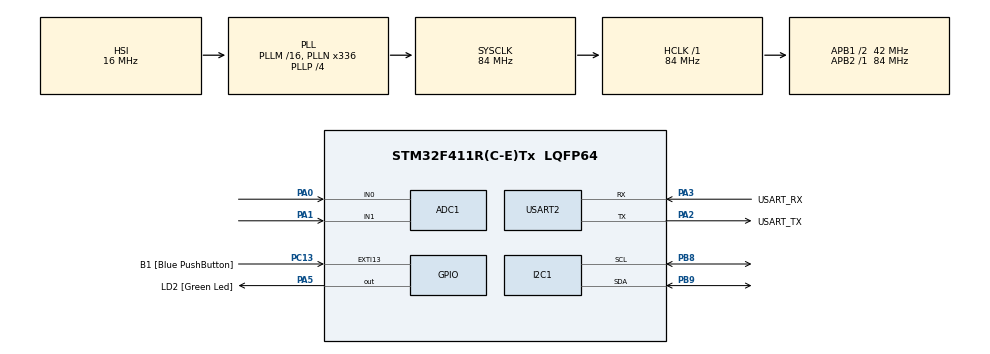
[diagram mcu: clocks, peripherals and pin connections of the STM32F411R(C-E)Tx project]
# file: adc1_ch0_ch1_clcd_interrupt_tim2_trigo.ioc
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ADC1.Channel-0\#ChannelRegularConversion=ADC_CHANNEL_0
ADC1.Channel-1\#ChannelRegularConversion=ADC_CHANNEL_1
ADC1.ClockPrescaler=ADC_CLOCK_SYNC_PCLK_DIV6
ADC1.ExternalTrigConv=ADC_EXTERNALTRIGCONV_T2_TRGO
ADC1.NbrOfConversion=2
ADC1.NbrOfConversionFlag=1
ADC1.Rank-0\#ChannelRegularConversion=1
ADC1.Rank-1\#ChannelRegularConversion=2
ADC1.SamplingTime-0\#ChannelRegularConversion=ADC_SAMPLETIME_28CYCLES
ADC1.SamplingTime-1\#ChannelRegularConversion=ADC_SAMPLETIME_28CYCLES
ADC1.ScanConvMode=ENABLE
ADC1.master=1
Mcu.Family=STM32F4
Mcu.Name=STM32F411R(C-E)Tx
Mcu.Package=LQFP64
NVIC.ADC_IRQn=true\:0\:0\:false\:false\:true\:true\:true\:true
NVIC.PriorityGroup=NVIC_PRIORITYGROUP_0
PA0-WKUP.Signal=ADCx_IN0
PA1.Signal=ADCx_IN1
PA13.GPIO_Label=TMS
PA13.Mode=Serial_Wire
PA13.Signal=SYS_JTMS-SWDIO
PA14.GPIO_Label=TCK
PA14.Mode=Serial_Wire
PA14.Signal=SYS_JTCK-SWCLK
PA2.GPIO_Label=USART_TX
PA2.Mode=Asynchronous
PA2.Signal=USART2_TX
PA3.GPIO_Label=USART_RX
PA3.Mode=Asynchronous
PA3.Signal=USART2_RX
PA5.GPIO_Label=LD2 [Green Led]
PA5.Signal=GPIO_Output
PB3.GPIO_Label=SWO
PB3.Signal=SYS_JTDO-SWO
PB8.Mode=I2C
PB8.Signal=I2C1_SCL
PB9.Mode=I2C
PB9.Signal=I2C1_SDA
PC13-ANTI_TAMP.GPIO_Label=B1 [Blue PushButton]
PC13-ANTI_TAMP.GPIO_ModeDefaultEXTI=GPIO_MODE_IT_FALLING
PC13-ANTI_TAMP.Signal=GPXTI13
PC14-OSC32_IN.Signal=RCC_OSC32_IN
PC15-OSC32_OUT.Signal=RCC_OSC32_OUT
PH0\ -\ OSC_IN.Signal=RCC_OSC_IN
PH1\ -\ OSC_OUT.Signal=RCC_OSC_OUT
ProjectManager.HeapSize=0x200
ProjectManager.StackSize=0x400
ProjectManager.TargetToolchain=STM32CubeIDE
RCC.48MHZClocksFreq_Value=84000000
RCC.AHBFreq_Value=84000000
RCC.APB1CLKDivider=RCC_HCLK_DIV2
RCC.APB1Freq_Value=42000000
RCC.APB1TimFreq_Value=84000000
RCC.APB2Freq_Value=84000000
RCC.APB2TimFreq_Value=84000000
RCC.CortexFreq_Value=84000000
RCC.FLatency-AdvancedSettings=FLASH_LATENCY_2
RCC.HCLKFreq_Value=84000000
RCC.HSE_VALUE=8000000
RCC.HSI_VALUE=16000000
RCC.LSE_VALUE=32768
RCC.PLLN=336
RCC.PLLP=RCC_PLLP_DIV4
RCC.SYSCLKFreq_VALUE=84000000
RCC.SYSCLKSource=RCC_SYSCLKSOURCE_PLLCLK
RCC.VCOOutputFreq_Value=336000000
SH.ADCx_IN0.0=ADC1_IN0,IN0
SH.ADCx_IN1.0=ADC1_IN1,IN1
TIM2.Channel-Output\ Compare2\ No\ Output=TIM_CHANNEL_2
TIM2.Period=5000000
TIM2.Prescaler=84-1
TIM2.TIM_MasterOutputTrigger=TIM_TRGO_UPDATE
USART2.VirtualMode=VM_ASYNC
VP_TIM2_VS_ClockSourceINT.Mode=Internal
VP_TIM2_VS_no_output2.Mode=Output Compare2 No Output
board=NUCLEO-F411RE

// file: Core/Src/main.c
/* USER CODE BEGIN Header */
/**
  ******************************************************************************
  * @file           : main.c
  * @brief          : Main program body
  ******************************************************************************
  * @attention
  *
  * Copyright (c) 2025 STMicroelectronics.
  * All rights reserved.
  *
  * This software is licensed under terms that can be found in the LICENSE file
  * in the root directory of this software component.
  * If no LICENSE file comes with this software, it is provided AS-IS.
  *
  ******************************************************************************
  */
/* USER CODE END Header */
#include "main.h"

/* USER CODE BEGIN Includes */
#include "clcd.h"
#include <stdio.h>
/* USER CODE END Includes */

/* USER CODE BEGIN PD */
#ifdef __GNUC__
/* With GCC, small printf (option LD Linker->Libraries->Small printf
   set to 'Yes') calls __io_putchar() */
#define PUTCHAR_PROTOTYPE int __io_putchar(int ch)
#else
#define PUTCHAR_PROTOTYPE int fputc(int ch, FILE *f)
#endif /* __GNUC__ */

/* USER CODE END PD */

ADC_HandleTypeDef hadc1;

I2C_HandleTypeDef hi2c1;

TIM_HandleTypeDef htim2;

UART_HandleTypeDef huart2;

/* USER CODE BEGIN PV */
__IO uint16_t ADC1ConvertValue[2]={0};
__IO int adcFlag = 0;
/* USER CODE END PV */

void SystemClock_Config(void);
static void MX_GPIO_Init(void);
static void MX_USART2_UART_Init(void);
static void MX_I2C1_Init(void);
static void MX_ADC1_Init(void);
static void MX_TIM2_Init(void);

int main(void)
{

  /* USER CODE BEGIN 1 */

	char lcd_buffer1[17];
	char lcd_buffer2[17];
  /* USER CODE END 1 */

  /* MCU Configuration--------------------------------------------------------*/

  /* Reset of all peripherals, Initializes the Flash interface and the Systick. */
  HAL_Init();

  /* Configure the system clock */
  SystemClock_Config();

  /* Initialize all configured peripherals */
  MX_GPIO_Init();
  MX_USART2_UART_Init();
  MX_I2C1_Init();
  MX_ADC1_Init();
  MX_TIM2_Init();
  /* USER CODE BEGIN 2 */
  LCD_init(&hi2c1);
  LCD_writeStringXY(0, 0, "Hello LCD!");
  printf("start main()\r\n");
  if(HAL_ADC_Start_IT(&hadc1) != HAL_OK)
	  Error_Handler();
  if(HAL_TIM_Base_Start(&htim2) != HAL_OK)
	  Error_Handler();
  /* USER CODE END 2 */

  /* Infinite loop */
  /* USER CODE BEGIN WHILE */
  while (1)
  {
#if 0
	  if(HAL_ADC_Start(&hadc1) != HAL_OK)
	  	  Error_Handler();
	  for(int i = 0; i < 2; i++)
	  {
		  HAL_ADC_PollForConversion(&hadc1, 100);
		  if((HAL_ADC_GetState(&hadc1) & HAL_ADC_STATE_REG_EOC) == HAL_ADC_STATE_REG_EOC)
		  {
//			  printf("ADC ch %d = %lu\r\n", i, HAL_ADC_GetValue(&hadc1));
			  ADC1ConvertValue[i] = HAL_ADC_GetValue(&hadc1);
		  }
	  }
	  HAL_ADC_Stop(&hadc1);
#endif
	  if(adcFlag)
	  {
		  adcFlag = 0;
		  snprintf(lcd_buffer1, 16, "VAR = %4d", ADC1ConvertValue[0]);
		  snprintf(lcd_buffer2, 16, "CDS = %4d", ADC1ConvertValue[1]);
		  LCD_writeStringXY(0, 0, lcd_buffer1);
		  LCD_writeStringXY(1, 0, lcd_buffer2);
		  printf("VAR = %4d  VAR_V= %4lf, CDS = %4d \r\n", ADC1ConvertValue[0], ADC1ConvertValue[0]*(3.3/4096), ADC1ConvertValue[1]);
//		  if(HAL_ADC_Start_IT(&hadc1) != HAL_OK)
//			  Error_Handler();
	  }
    /* USER CODE END WHILE */

  }
}

void SystemClock_Config(void)
{
  RCC_OscInitTypeDef RCC_OscInitStruct = {0};
  RCC_ClkInitTypeDef RCC_ClkInitStruct = {0};

  /** Configure the main internal regulator output voltage
  */
  __HAL_RCC_PWR_CLK_ENABLE();
  __HAL_PWR_VOLTAGESCALING_CONFIG(PWR_REGULATOR_VOLTAGE_SCALE1);

  /** Initializes the RCC Oscillators according to the specified parameters
  * in the RCC_OscInitTypeDef structure.
  */
  RCC_OscInitStruct.OscillatorType = RCC_OSCILLATORTYPE_HSI;
  RCC_OscInitStruct.HSIState = RCC_HSI_ON;
  RCC_OscInitStruct.HSICalibrationValue = RCC_HSICALIBRATION_DEFAULT;
  RCC_OscInitStruct.PLL.PLLState = RCC_PLL_ON;
  RCC_OscInitStruct.PLL.PLLSource = RCC_PLLSOURCE_HSI;
  RCC_OscInitStruct.PLL.PLLM = 16;
  RCC_OscInitStruct.PLL.PLLN = 336;
  RCC_OscInitStruct.PLL.PLLP = RCC_PLLP_DIV4;
  RCC_OscInitStruct.PLL.PLLQ = 4;
  if (HAL_RCC_OscConfig(&RCC_OscInitStruct) != HAL_OK)
  {
    Error_Handler();
  }

  /** Initializes the CPU, AHB and APB buses clocks
  */
  RCC_ClkInitStruct.ClockType = RCC_CLOCKTYPE_HCLK|RCC_CLOCKTYPE_SYSCLK
                              |RCC_CLOCKTYPE_PCLK1|RCC_CLOCKTYPE_PCLK2;
  RCC_ClkInitStruct.SYSCLKSource = RCC_SYSCLKSOURCE_PLLCLK;
  RCC_ClkInitStruct.AHBCLKDivider = RCC_SYSCLK_DIV1;
  RCC_ClkInitStruct.APB1CLKDivider = RCC_HCLK_DIV2;
  RCC_ClkInitStruct.APB2CLKDivider = RCC_HCLK_DIV1;

  if (HAL_RCC_ClockConfig(&RCC_ClkInitStruct, FLASH_LATENCY_2) != HAL_OK)
  {
    Error_Handler();
  }
}

static void MX_ADC1_Init(void)
{

  ADC_ChannelConfTypeDef sConfig = {0};

  /** Configure the global features of the ADC (Clock, Resolution, Data Alignment and number of conversion)
  */
  hadc1.Instance = ADC1;
  hadc1.Init.ClockPrescaler = ADC_CLOCK_SYNC_PCLK_DIV6;
  hadc1.Init.Resolution = ADC_RESOLUTION_12B;
  hadc1.Init.ScanConvMode = ENABLE;
  hadc1.Init.ContinuousConvMode = DISABLE;
  hadc1.Init.DiscontinuousConvMode = DISABLE;
  hadc1.Init.ExternalTrigConvEdge = ADC_EXTERNALTRIGCONVEDGE_RISING;
  hadc1.Init.ExternalTrigConv = ADC_EXTERNALTRIGCONV_T2_TRGO;
  hadc1.Init.DataAlign = ADC_DATAALIGN_RIGHT;
  hadc1.Init.NbrOfConversion = 2;
  hadc1.Init.DMAContinuousRequests = DISABLE;
  hadc1.Init.EOCSelection = ADC_EOC_SINGLE_CONV;
  if (HAL_ADC_Init(&hadc1) != HAL_OK)
  {
    Error_Handler();
  }

  /** Configure for the selected ADC regular channel its corresponding rank in the sequencer and its sample time.
  */
  sConfig.Channel = ADC_CHANNEL_0;
  sConfig.Rank = 1;
  sConfig.SamplingTime = ADC_SAMPLETIME_28CYCLES;
  if (HAL_ADC_ConfigChannel(&hadc1, &sConfig) != HAL_OK)
  {
    Error_Handler();
  }

  /** Configure for the selected ADC regular channel its corresponding rank in the sequencer and its sample time.
  */
  sConfig.Channel = ADC_CHANNEL_1;
  sConfig.Rank = 2;
  if (HAL_ADC_ConfigChannel(&hadc1, &sConfig) != HAL_OK)
  {
    Error_Handler();
  }

}

static void MX_I2C1_Init(void)
{

  hi2c1.Instance = I2C1;
  hi2c1.Init.ClockSpeed = 100000;
  hi2c1.Init.DutyCycle = I2C_DUTYCYCLE_2;
  hi2c1.Init.OwnAddress1 = 0;
  hi2c1.Init.AddressingMode = I2C_ADDRESSINGMODE_7BIT;
  hi2c1.Init.DualAddressMode = I2C_DUALADDRESS_DISABLE;
  hi2c1.Init.OwnAddress2 = 0;
  hi2c1.Init.GeneralCallMode = I2C_GENERALCALL_DISABLE;
  hi2c1.Init.NoStretchMode = I2C_NOSTRETCH_DISABLE;
  if (HAL_I2C_Init(&hi2c1) != HAL_OK)
  {
    Error_Handler();
  }

}

static void MX_TIM2_Init(void)
{

  TIM_ClockConfigTypeDef sClockSourceConfig = {0};
  TIM_MasterConfigTypeDef sMasterConfig = {0};
  TIM_OC_InitTypeDef sConfigOC = {0};

  htim2.Instance = TIM2;
  htim2.Init.Prescaler = 84-1;
  htim2.Init.CounterMode = TIM_COUNTERMODE_UP;
  htim2.Init.Period = 5000000;
  htim2.Init.ClockDivision = TIM_CLOCKDIVISION_DIV1;
  htim2.Init.AutoReloadPreload = TIM_AUTORELOAD_PRELOAD_DISABLE;
  if (HAL_TIM_Base_Init(&htim2) != HAL_OK)
  {
    Error_Handler();
  }
  sClockSourceConfig.ClockSource = TIM_CLOCKSOURCE_INTERNAL;
  if (HAL_TIM_ConfigClockSource(&htim2, &sClockSourceConfig) != HAL_OK)
  {
    Error_Handler();
  }
  if (HAL_TIM_OC_Init(&htim2) != HAL_OK)
  {
    Error_Handler();
  }
  sMasterConfig.MasterOutputTrigger = TIM_TRGO_UPDATE;
  sMasterConfig.MasterSlaveMode = TIM_MASTERSLAVEMODE_DISABLE;
  if (HAL_TIMEx_MasterConfigSynchronization(&htim2, &sMasterConfig) != HAL_OK)
  {
    Error_Handler();
  }
  sConfigOC.OCMode = TIM_OCMODE_TIMING;
  sConfigOC.Pulse = 0;
  sConfigOC.OCPolarity = TIM_OCPOLARITY_HIGH;
  sConfigOC.OCFastMode = TIM_OCFAST_DISABLE;
  if (HAL_TIM_OC_ConfigChannel(&htim2, &sConfigOC, TIM_CHANNEL_2) != HAL_OK)
  {
    Error_Handler();
  }

}

static void MX_USART2_UART_Init(void)
{

  huart2.Instance = USART2;
  huart2.Init.BaudRate = 115200;
  huart2.Init.WordLength = UART_WORDLENGTH_8B;
  huart2.Init.StopBits = UART_STOPBITS_1;
  huart2.Init.Parity = UART_PARITY_NONE;
  huart2.Init.Mode = UART_MODE_TX_RX;
  huart2.Init.HwFlowCtl = UART_HWCONTROL_NONE;
  huart2.Init.OverSampling = UART_OVERSAMPLING_16;
  if (HAL_UART_Init(&huart2) != HAL_OK)
  {
    Error_Handler();
  }

}

static void MX_GPIO_Init(void)
{
  GPIO_InitTypeDef GPIO_InitStruct = {0};

  /* GPIO Ports Clock Enable */
  __HAL_RCC_GPIOC_CLK_ENABLE();
  __HAL_RCC_GPIOH_CLK_ENABLE();
  __HAL_RCC_GPIOA_CLK_ENABLE();
  __HAL_RCC_GPIOB_CLK_ENABLE();

  /*Configure GPIO pin Output Level */
  HAL_GPIO_WritePin(LD2_GPIO_Port, LD2_Pin, GPIO_PIN_RESET);

  /*Configure GPIO pin : B1_Pin */
  GPIO_InitStruct.Pin = B1_Pin;
  GPIO_InitStruct.Mode = GPIO_MODE_IT_FALLING;
  GPIO_InitStruct.Pull = GPIO_NOPULL;
  HAL_GPIO_Init(B1_GPIO_Port, &GPIO_InitStruct);

  /*Configure GPIO pin : LD2_Pin */
  GPIO_InitStruct.Pin = LD2_Pin;
  GPIO_InitStruct.Mode = GPIO_MODE_OUTPUT_PP;
  GPIO_InitStruct.Pull = GPIO_NOPULL;
  GPIO_InitStruct.Speed = GPIO_SPEED_FREQ_LOW;
  HAL_GPIO_Init(LD2_GPIO_Port, &GPIO_InitStruct);

}

/* USER CODE BEGIN 4 */
/**
  * @brief  Retargets the C library printf function to the USART.
  * @param  None
  * @retval None
  */
PUTCHAR_PROTOTYPE
{
  /* Place your implementation of fputc here */
  /* e.g. write a character to the USART6 and Loop until the end of transmission */
  HAL_UART_Transmit(&huart2, (uint8_t *)&ch, 1, 0xFFFF);

  return ch;
}

void HAL_ADC_ConvCpltCallback(ADC_HandleTypeDef *hadc)
{
	static int channel = 0;
	if(channel == 0)
	{
		ADC1ConvertValue[channel] = HAL_ADC_GetValue(hadc);
		channel = 1;
	}
	else if(channel == 1)
	{
		ADC1ConvertValue[channel] = HAL_ADC_GetValue(hadc);
		channel = 0;
		adcFlag = 1;
	}
}

/* USER CODE END 4 */

void Error_Handler(void)
{
  __disable_irq();
  while (1)
  {
  }
}
